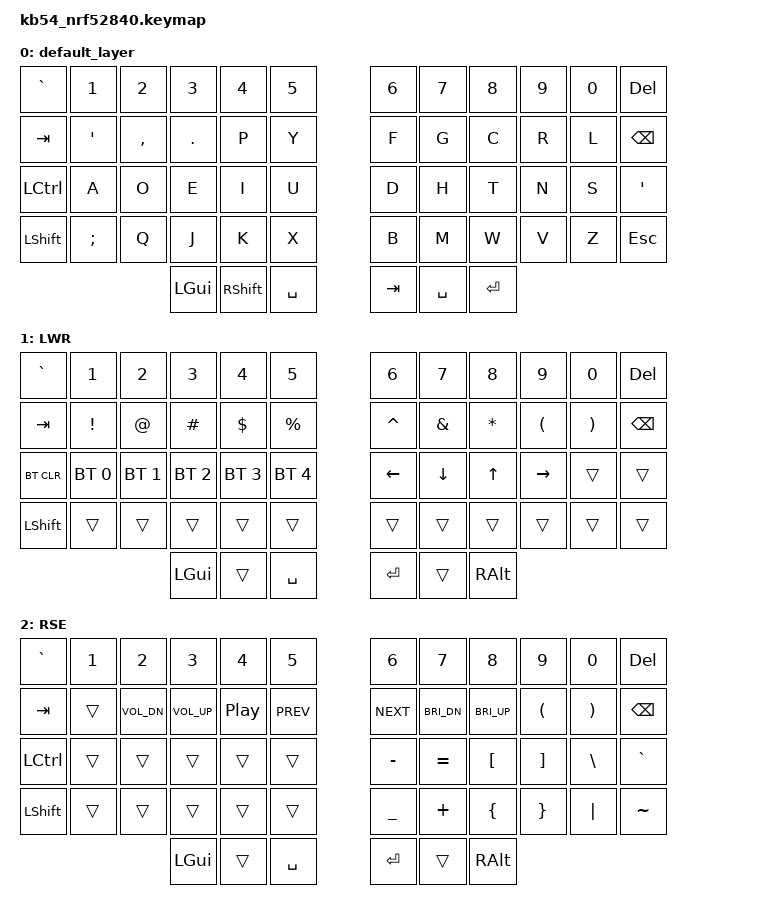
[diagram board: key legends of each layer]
/*
 * Copyright (c) 2020 The ZMK Contributors
 *
 * SPDX-License-Identifier: MIT
 */

#include <behaviors.dtsi>
#include <dt-bindings/zmk/keys.h>
#include <dt-bindings/zmk/bt.h>

/ {
        keymap {
                compatible = "zmk,keymap";

                default_layer {
// -----------------------------------------------------------------------------------------
// |   `  |  1  |  2  |  3  |  4  |  5  |   |  6  |  7   |  8  |  9  |  0  |  DEL |
// |  TAB |  Q  |  W  |  X  |  R  |  T  |   |  Y  |  U   |  I  |  O  |  P  | BSPC |
// | CTRL |  A  |  S  |  D  |  F  |  G  |   |  H  |  J   |  K  |  L  |  ;  |  '   |
// | SHFT |  Z  |  X  |  C  |  V  |  B  |   |  N  |  M   |  ,  |  .  |  /  | ESC  |
//                    | GUI | LWR | SPC |   | ENT | RSE  | ALT |
                        bindings = <
   &kp GRAVE &kp N1 &kp N2 &kp N3 &kp N4 &kp N5    &kp N6 &kp N7 &kp N8 &kp N9 &kp N0 &kp DEL
   &kp TAB   &kp SQT  &kp COMMA  &kp DOT  &kp P  &kp Y     &kp F  &kp G  &kp C  &kp R  &kp L  &kp BSPC
   &kp LCTRL &kp A  &kp O  &kp E  &kp I  &kp U     &kp D  &kp H  &kp T  &kp N  &kp S  &kp SQT
   &kp LSHFT &kp SEMI  &kp Q  &kp J  &kp K  &kp X     &kp B  &kp M  &kp W  &kp V  &kp Z  &kp ESC
                        &kp LGUI &kp RSHFT &kp SPACE   &kp TAB &kp SPACE &kp RET
                        >;
                };

                lower_layer {
                    display-name = "LWR";
                    label = "LWR";
// -----------------------------------------------------------------------------------------
// |   `  |  1  |  2  |  3  |  4  |  5  |   |  6  |  7  |  8  |  9  |  0  |  DEL |
// |  TAB |  !  |  @  |  #  |  $  |  %  |   |  ^  |  &  |  *  |  (  |  )  | BSPC |
// | BTCLR| BT1 | BT2 | BT3 | BT4 | BT5 |   | LFT | DWN |  UP | RGT |     |      |
// | SHFT |     |     |     |     |     |   |     |     |     |     |     |      |
//                    | GUI |     | SPC |   | ENT |     | ALT |
                        bindings = <
   &kp GRAVE    &kp N1          &kp N2          &kp N3          &kp N4          &kp N5                  &kp N6      &kp N7      &kp N8      &kp N9      &kp N0      &kp DEL
   &kp TAB      &kp EXCL        &kp AT          &kp HASH        &kp DLLR        &kp PRCNT               &kp CARET   &kp AMPS    &kp ASTRK   &kp LPAR    &kp RPAR    &kp BSPC
   &bt BT_CLR   &bt BT_SEL 0    &bt BT_SEL 1    &bt BT_SEL 2    &bt BT_SEL 3    &bt BT_SEL 4            &kp LEFT    &kp DOWN    &kp UP      &kp RIGHT   &trans      &trans
   &kp LSHFT    &trans          &trans          &trans          &trans          &trans                  &trans      &trans      &trans      &trans      &trans      &trans
                                                &kp LGUI        &trans          &kp SPACE               &kp RET     &trans      &kp RALT
                        >;
                };

                raise_layer {
                    display-name = "RSE";
                    label = "RSE";
// -----------------------------------------------------------------------------------------
// |   `  |  1  |  2  |  3  |  4  |  5  |   |  6  |  7  |  8  |  9  |  0  |  DEL |
// |  TAB |     |VOL- |VOL+ | P/P | PRV |   | NXT | BR- | BR+ |  (  |  )  | BSPC |
// | CTRL |     |     |     |     |     |   |  -  |  =  |  [  |  ]  |  \  |  `   |
// | SHFT |     |     |     |     |     |   |  _  |  +  |  {  |  }  | "|" |  ~   |
//                    | GUI |     | SPC |   | ENT |     | ALT |
                        bindings = <
   &kp GRAVE &kp N1     &kp N2          &kp N3          &kp N4      &kp N5              &kp N6      &kp N7          &kp N8          &kp N9      &kp N0   &kp DEL
   &kp  TAB  &trans     &kp C_VOL_DN    &kp C_VOL_UP    &kp C_PP    &kp C_PREV          &kp C_NEXT  &kp C_BRI_DN    &kp C_BRI_UP    &kp LPAR    &kp RPAR &kp BSPC
   &kp LCTRL &trans     &trans          &trans          &trans      &trans              &kp MINUS   &kp EQUAL       &kp LBKT        &kp RBKT    &kp BSLH &kp GRAVE
   &kp LSHFT &trans     &trans          &trans          &trans      &trans              &kp UNDER   &kp PLUS        &kp LBRC        &kp RBRC    &kp PIPE &kp TILDE
                                        &kp LGUI        &trans      &kp SPACE           &kp RET     &trans          &kp RALT
                        >;
                };
        };
};
